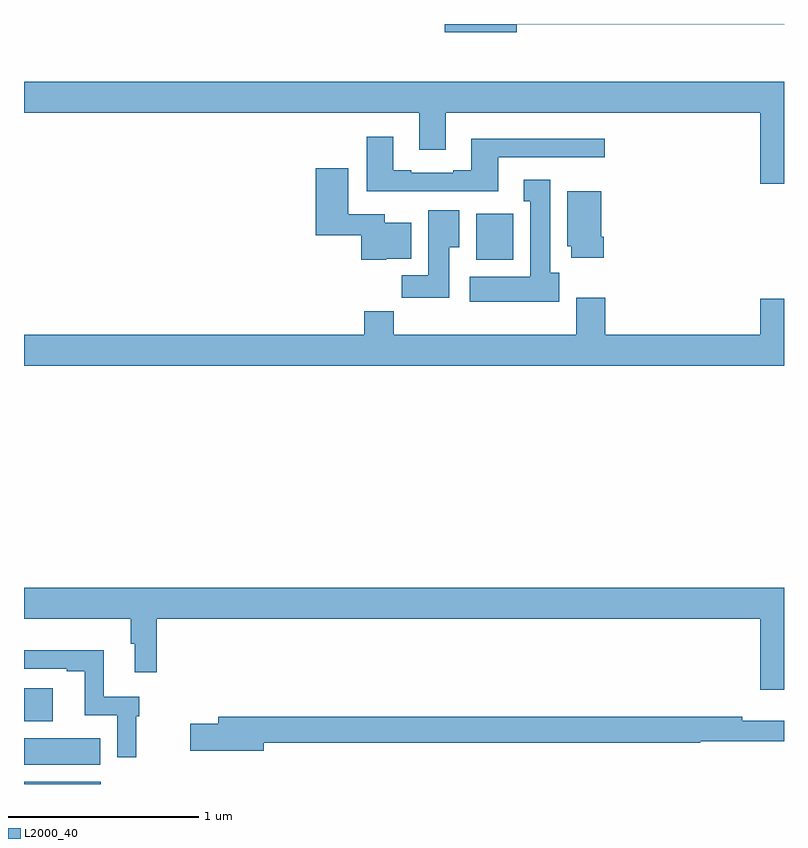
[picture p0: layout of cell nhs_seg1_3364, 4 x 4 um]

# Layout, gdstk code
import gdstk
lib = gdstk.Library(unit=1e-6, precision=1e-09)
def R(c, l, rs):  # rectangles x0, y0, x1, y1
    for r in rs: c.add(gdstk.rectangle(r[:2], r[2:], *l))
def P(c, l, *ps):  # polygons
    for p in ps: c.add(gdstk.Polygon(p, *l))
L2000_40 = (2000, 40)

nhs_seg1_3364 = lib.new_cell('nhs_seg1_3364')
R(nhs_seg1_3364, L2000_40, [(293,548.199,293.404,548.211), (293,548.3,293.401,548.44), (293,548.528,293.152,548.704), (295.379,550.958,295.576,551.2)])
P(nhs_seg1_3364, L2000_40, [(295.594,552.198),(297,552.198),(297,552.199),(294.536,552.199),(294.536,552.198),(295.214,552.198),(295.214,552.155),(295.594,552.155)],
  [(297,551.896),(293,551.896),(293,551.732),(295.079,551.732),(295.079,551.538),(295.219,551.538),(295.219,551.732),(296.876,551.732),(296.876,551.358),(297,551.358)],
  [(295.495,551.499),(296.056,551.499),(296.056,551.596),(295.355,551.596),(295.355,551.428),(295.259,551.428),(295.259,551.415),(295.039,551.415),(295.039,551.428),(294.943,551.428),(294.943,551.605),(294.803,551.605),(294.803,551.319),(295.495,551.319)],
  [(294.906,550.964),(295.039,550.964),(295.039,551.152),(294.898,551.152),(294.898,551.197),(294.706,551.197),(294.706,551.44),(294.536,551.44),(294.536,551.087),(294.776,551.087),(294.776,550.958),(294.906,550.958)],
  [(295.816,550.89),(295.771,550.89),(295.771,551.38),(295.631,551.38),(295.631,551.267),(295.664,551.267),(295.664,550.87),(295.347,550.87),(295.347,550.736),(295.816,550.736)],
  [(296.051,551.08),(296.038,551.08),(296.038,551.32),(295.859,551.32),(295.859,551.028),(295.88,551.028),(295.88,550.968),(296.051,550.968)],
  [(295.237,551.024),(295.291,551.024),(295.291,551.218),(295.127,551.218),(295.127,550.876),(294.988,550.876),(294.988,550.758),(295.237,550.758)],
  [(297,550.753),(296.876,550.753),(296.876,550.564),(296.06,550.564),(296.06,550.759),(295.907,550.759),(295.907,550.564),(294.947,550.564),(294.947,550.688),(294.791,550.688),(294.791,550.564),(293,550.564),(293,550.4),(297,550.4)],
  [(297,549.232),(293,549.232),(293,549.068),(293.563,549.068),(293.563,548.936),(293.582,548.936),(293.582,548.787),(293.699,548.787),(293.699,549.068),(296.876,549.068),(296.876,548.694),(297,548.694)],
  [(293.591,548.555),(293.606,548.555),(293.606,548.658),(293.419,548.658),(293.419,548.902),(293,548.902),(293,548.805),(293.225,548.805),(293.225,548.793),(293.321,548.793),(293.321,548.562),(293.49,548.562),(293.49,548.34),(293.591,548.34)],
  [(294.262,548.416),(296.558,548.416),(296.558,548.424),(297,548.424),(297,548.533),(296.78,548.533),(296.78,548.552),(294.023,548.552),(294.023,548.516),(293.874,548.516),(293.874,548.374),(294.262,548.374)])

lib.write_gds('nhs_seg1_3364.gds')
